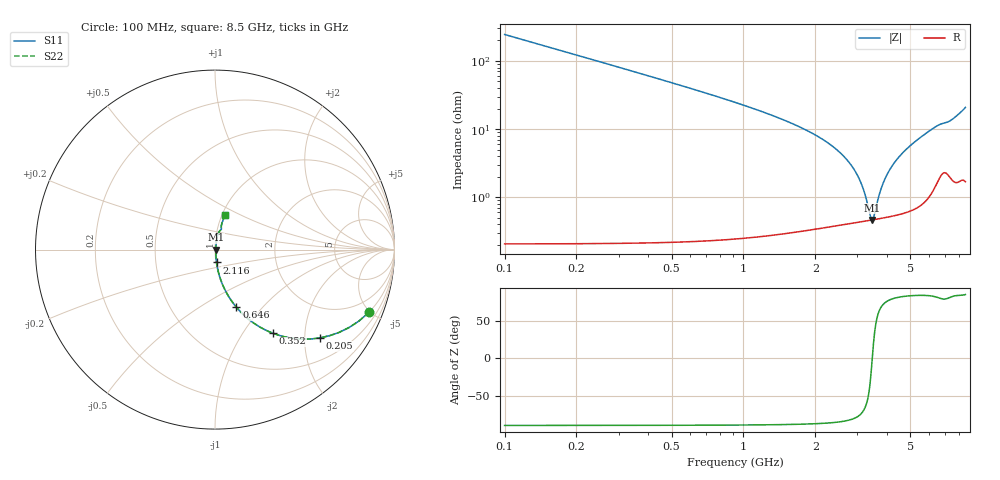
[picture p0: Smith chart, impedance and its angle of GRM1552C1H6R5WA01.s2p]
!Murata Part Number: GRM1552C1H6R5WA01
!These Parameters are Measured in Series Mode Connection
!Data Generated on Mar 30, 2021
!  o--ll--o
!Port1  Port2
!  o------o
!Operation Temp=25[degC], DC Bias Voltage=0[V]
!Freq. Start=100[MHz] Stop=9[GHz] 401[Steps]
# Hz S RI R 50
!Freq.(Hz) S11(Real) S11(Imag) S21(Real) S21(Imag) S12(Real) S12(Imag) S22(Real) S22(Imag)
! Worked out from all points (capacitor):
!   401 points, 100 MHz to 8.5 GHz, reference 50 ohm
!   read as one part in series: C = 6.5 pF near 142 MHz
!   lowest |Z| = 463 mohm at 3.46 GHz (marker M1)
!   series resonance near 3.463 GHz, so ESL is about 320 pH
!   S11 on the Smith chart (normalised r, x): 100 MHz: 1.00, -4.89; 205 MHz: 1.00, -2.38; 352 MHz: 1.00, -1.38; 646 MHz: 1.00, -0.73; 2.116 GHz: 1.01, -0.15; 8.5 GHz: 1.03, +0.41
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1e8  0.8566 -0.35  0.1434 0.35  0.1434 0.35  0.8566 -0.35
2.05e8  0.586 -0.4917  0.414 0.4917  0.414 0.4917  0.586 -0.4917
3.52e8  0.322 -0.4657  0.678 0.4657  0.678 0.4657  0.322 -0.4657
4.78e8  0.2026 -0.3998  0.7974 0.3998  0.7974 0.3998  0.2026 -0.3998
6.46e8  0.1195 -0.3213  0.8805 0.3213  0.8805 0.3213  0.1195 -0.3213
1.003e9  0.0497 -0.2119  0.9503 0.2119  0.9503 0.2119  0.0497 -0.2119
1.507e9  0.0198 -0.1287  0.9802 0.1287  0.9802 0.1287  0.0198 -0.1287
2.116e9  0.00867 -0.0718  0.9913 0.0718  0.9913 0.0718  0.00867 -0.0718
2.578e9  0.00567 -0.0422  0.9943 0.0422  0.9943 0.0422  0.00567 -0.0422
2.914e9  0.00477 -0.0246  0.9952 0.0246  0.9952 0.0246  0.00477 -0.0246
3.145e9  0.00454 -0.0137  0.9955 0.0137  0.9955 0.0137  0.00454 -0.0137
3.397e9  0.00456 -0.00276  0.9954 0.00276  0.9954 0.00276  0.00456 -0.00276
3.46e9  0.0046 -0.000136  0.9954 0.000136  0.9954 0.000136  0.0046 -0.000136
3.523e9  0.00466 0.00244  0.9953 -0.00244  0.9953 -0.00244  0.00466 0.00244
3.691e9  0.00487 0.00913  0.9951 -0.00913  0.9951 -0.00913  0.00487 0.00913
3.859e9  0.00517 0.0156  0.9948 -0.0156  0.9948 -0.0156  0.00517 0.0156
4.3e9  0.00633 0.0317  0.9937 -0.0317  0.9937 -0.0317  0.00633 0.0317
4.888e9  0.00876 0.0521  0.9912 -0.0521  0.9912 -0.0521  0.00876 0.0521
5.707e9  0.0147 0.0802  0.9853 -0.0802  0.9853 -0.0802  0.0147 0.0802
6.484e9  0.0276 0.1058  0.9724 -0.1058  0.9724 -0.1058  0.0276 0.1058
7.114e9  0.0356 0.1167  0.9644 -0.1167  0.9644 -0.1167  0.0356 0.1167
8.5e9  0.0556 0.1921  0.9444 -0.1921  0.9444 -0.1921  0.0556 0.1921
